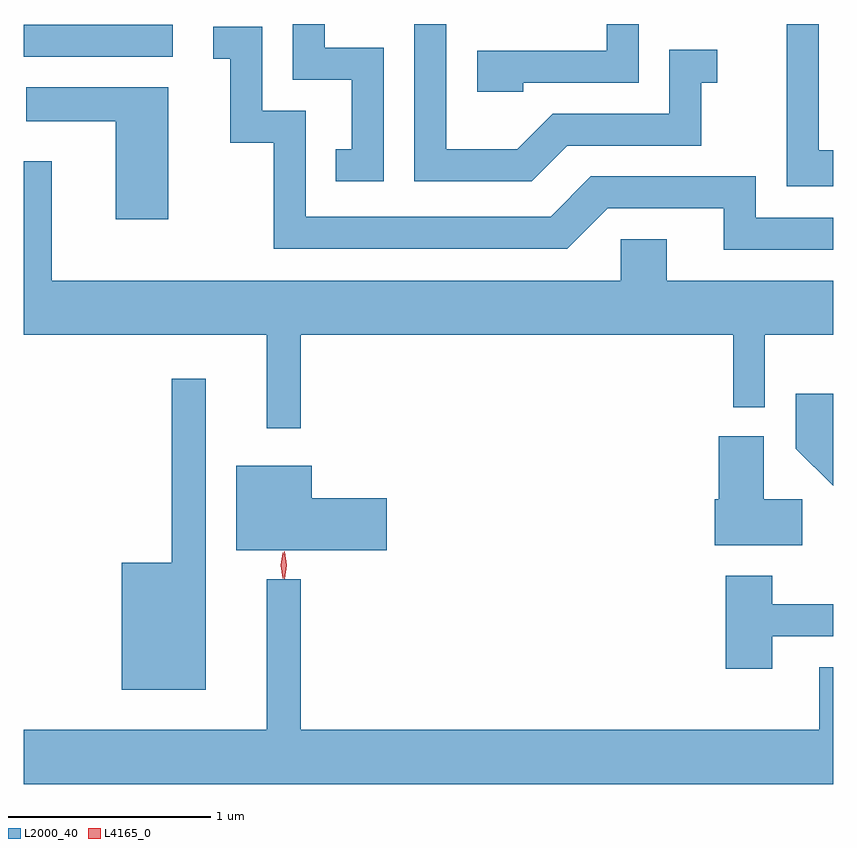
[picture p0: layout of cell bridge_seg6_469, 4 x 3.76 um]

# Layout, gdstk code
import gdstk
lib = gdstk.Library(unit=1e-6, precision=1e-09)
def R(c, l, rs):  # rectangles x0, y0, x1, y1
    for r in rs: c.add(gdstk.rectangle(r[:2], r[2:], *l))
def P(c, l, *ps):  # polygons
    for p in ps: c.add(gdstk.Polygon(p, *l))
L2000_40 = (2000, 40)
L4165_0 = (4165, 0)

bridge_seg6_469 = lib.new_cell('bridge_seg6_469')
R(bridge_seg6_469, L2000_40, [(677.681,1584.711,678.418,1584.869)])
P(bridge_seg6_469, L2000_40, [(681.681,1584.249),(681.609,1584.249),(681.609,1584.872),(681.451,1584.872),(681.451,1584.071),(681.681,1584.071)],
  [(680.149,1584.581),(680.719,1584.581),(680.719,1584.872),(680.561,1584.872),(680.561,1584.739),(679.921,1584.739),(679.921,1584.536),(680.149,1584.536)],
  [(680.367,1584.271),(681.029,1584.271),(681.029,1584.581),(681.108,1584.581),(681.108,1584.744),(680.871,1584.744),(680.871,1584.429),(680.294,1584.429),(680.119,1584.254),(679.769,1584.254),(679.769,1584.872),(679.611,1584.872),(679.611,1584.096),(680.192,1584.096)],
  [(679.459,1584.754),(679.169,1584.754),(679.169,1584.872),(679.011,1584.872),(679.011,1584.596),(679.301,1584.596),(679.301,1584.254),(679.223,1584.254),(679.223,1584.096),(679.459,1584.096)],
  [(681.681,1583.914),(681.299,1583.914),(681.299,1584.119),(680.484,1584.119),(680.284,1583.919),(679.074,1583.919),(679.074,1584.444),(678.859,1584.444),(678.859,1584.859),(678.618,1584.859),(678.618,1584.701),(678.701,1584.701),(678.701,1584.286),(678.916,1584.286),(678.916,1583.761),(680.367,1583.761),(680.567,1583.961),(681.141,1583.961),(681.141,1583.756),(681.681,1583.756)],
  [(678.394,1584.559),(677.693,1584.559),(677.693,1584.391),(678.136,1584.391),(678.136,1583.906),(678.394,1583.906)],
  [(679.049,1583.336),(681.186,1583.336),(681.186,1582.978),(681.344,1582.978),(681.344,1583.336),(681.681,1583.336),(681.681,1583.604),(680.859,1583.604),(680.859,1583.809),(680.631,1583.809),(680.631,1583.604),(677.819,1583.604),(677.819,1584.194),(677.681,1584.194),(677.681,1583.336),(678.881,1583.336),(678.881,1582.873),(679.049,1582.873)],
  [(678.579,1583.118),(678.411,1583.118),(678.411,1582.209),(678.166,1582.209),(678.166,1581.581),(678.579,1581.581)],
  [(681.681,1583.044),(681.496,1583.044),(681.496,1582.774),(681.681,1582.589)],
  [(681.529,1582.524),(681.339,1582.524),(681.339,1582.834),(681.116,1582.834),(681.116,1582.524),(681.096,1582.524),(681.096,1582.296),(681.529,1582.296)],
  [(679.474,1582.529),(679.104,1582.529),(679.104,1582.689),(678.731,1582.689),(678.731,1582.271),(679.474,1582.271)],
  [(681.379,1581.846),(681.681,1581.846),(681.681,1582.004),(681.379,1582.004),(681.379,1582.144),(681.151,1582.144),(681.151,1581.686),(681.379,1581.686)],
  [(681.681,1581.694),(681.611,1581.694),(681.611,1581.384),(679.049,1581.384),(679.049,1582.128),(678.881,1582.128),(678.881,1581.384),(677.681,1581.384),(677.681,1581.116),(681.681,1581.116)])
P(bridge_seg6_469, L4165_0, [(678.962,1582.133),(678.961,1582.134),(678.951,1582.196),(678.961,1582.26),(678.961,1582.26),(678.962,1582.26),(678.971,1582.196),(678.962,1582.134)],
  [(678.969,1582.13),(678.96,1582.198),(678.969,1582.265),(678.97,1582.266),(678.97,1582.265),(678.98,1582.198),(678.97,1582.13),(678.97,1582.13)])

lib.write_gds('bridge_seg6_469.gds')
